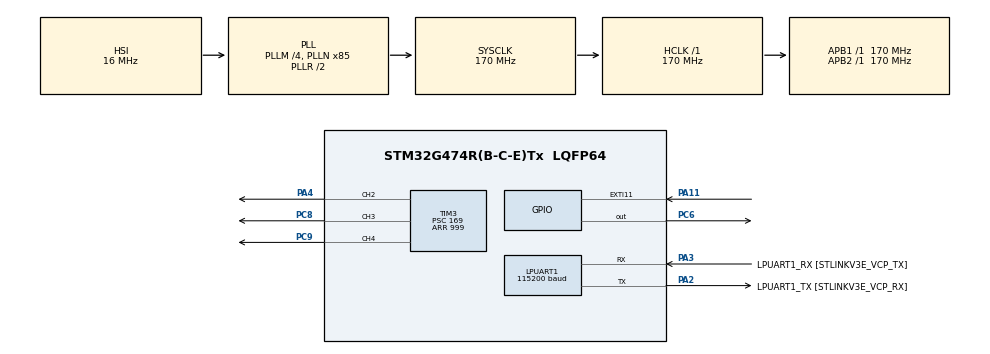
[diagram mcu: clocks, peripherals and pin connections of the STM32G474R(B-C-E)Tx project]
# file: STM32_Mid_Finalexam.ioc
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LPUART1.BaudRate=115200
Mcu.Family=STM32G4
Mcu.Name=STM32G474R(B-C-E)Tx
Mcu.Package=LQFP64
NVIC.EXTI15_10_IRQn=true\:1\:0\:true\:false\:true\:true\:true\:true
NVIC.LPUART1_IRQn=true\:0\:0\:false\:false\:true\:true\:true\:true
NVIC.PriorityGroup=NVIC_PRIORITYGROUP_4
PA11.GPIO_PuPd=GPIO_PULLUP
PA11.Signal=GPXTI11
PA13.GPIO_Label=T_SWDIO
PA13.Mode=Serial_Wire
PA13.Signal=SYS_JTMS-SWDIO
PA14.GPIO_Label=T_SWCLK
PA14.Mode=Serial_Wire
PA14.Signal=SYS_JTCK-SWCLK
PA2.GPIO_Label=LPUART1_TX [STLINKV3E_VCP_RX]
PA2.Mode=Asynchronous
PA2.Signal=LPUART1_TX
PA3.GPIO_Label=LPUART1_RX [STLINKV3E_VCP_TX]
PA3.Mode=Asynchronous
PA3.Signal=LPUART1_RX
PA4.Signal=S_TIM3_CH2
PB3.GPIO_Label=T_SWO
PB3.Signal=SYS_JTDO-SWO
PC14-OSC32_IN.GPIO_Label=RCC_OSC32_IN
PC14-OSC32_IN.Signal=RCC_OSC32_IN
PC15-OSC32_OUT.GPIO_Label=RCC_OSC32_OUT
PC15-OSC32_OUT.Signal=RCC_OSC32_OUT
PC6.Signal=GPIO_Output
PC8.Signal=S_TIM3_CH3
PC9.Signal=S_TIM3_CH4
PF0-OSC_IN.GPIO_Label=RCC_OSC_IN
PF0-OSC_IN.Signal=RCC_OSC_IN
PF1-OSC_OUT.GPIO_Label=RCC_OSC_OUT
PF1-OSC_OUT.Signal=RCC_OSC_OUT
ProjectManager.HeapSize=0x200
ProjectManager.StackSize=0x400
ProjectManager.TargetToolchain=STM32CubeIDE
RCC.ADC12Freq_Value=170000000
RCC.ADC345Freq_Value=170000000
RCC.AHBFreq_Value=170000000
RCC.APB1Freq_Value=170000000
RCC.APB1TimFreq_Value=170000000
RCC.APB2Freq_Value=170000000
RCC.APB2TimFreq_Value=170000000
RCC.CortexFreq_Value=170000000
RCC.EXTERNAL_CLOCK_VALUE=12288000
RCC.HCLKFreq_Value=170000000
RCC.HSE_VALUE=24000000
RCC.HSI48_VALUE=48000000
RCC.HSI_VALUE=16000000
RCC.LSE_VALUE=32768
RCC.PLLM=RCC_PLLM_DIV4
RCC.PLLN=85
RCC.RTCClockSelection=RCC_RTCCLKSOURCE_LSE
RCC.SYSCLKFreq_VALUE=170000000
RCC.SYSCLKSource=RCC_SYSCLKSOURCE_PLLCLK
RCC.USBFreq_Value=170000000
RCC.VCOOutputFreq_Value=340000000
SH.S_TIM3_CH2.0=TIM3_CH2,PWM Generation2 CH2
SH.S_TIM3_CH3.0=TIM3_CH3,PWM Generation3 CH3
SH.S_TIM3_CH4.0=TIM3_CH4,PWM Generation4 CH4
TIM3.Channel-PWM\ Generation2\ CH2=TIM_CHANNEL_2
TIM3.Channel-PWM\ Generation3\ CH3=TIM_CHANNEL_3
TIM3.Channel-PWM\ Generation4\ CH4=TIM_CHANNEL_4
TIM3.PeriodNoDither=999
TIM3.Prescaler=169
VP_SYS_VS_DBSignals.Mode=DisableDeadBatterySignals
board=NUCLEO-G474RE

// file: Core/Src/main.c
/* USER CODE BEGIN Header */
/**
  ******************************************************************************
  * @file           : main.c
  * @brief          : Main program body
  ******************************************************************************
  * @attention
  *
  * Copyright (c) 2026 STMicroelectronics.
  * All rights reserved.
  *
  * This software is licensed under terms that can be found in the LICENSE file
  * in the root directory of this software component.
  * If no LICENSE file comes with this software, it is provided AS-IS.
  *
  ******************************************************************************
  */
/* USER CODE END Header */
#include "main.h"

/* USER CODE BEGIN Includes */
#include <string.h>
#include <stdio.h>
/* USER CODE END Includes */

UART_HandleTypeDef hlpuart1;

TIM_HandleTypeDef htim3;

/* USER CODE BEGIN PV */
#define RX_BUF_SIZE 64
uint8_t rx_byte;
uint8_t rx_buffer[RX_BUF_SIZE];
uint16_t rx_head = 0, rx_tail = 0;
char line_buffer[64];
uint8_t line_idx = 0;

// C4 狀態變數
uint8_t C4_set = 0;
uint8_t bakudan = 0;
uint8_t dfbool = 0;
uint8_t CUT = 0;
uint8_t Defuse = 0;
uint8_t DFS = 0;

uint32_t Bomb_tick = 0;
uint32_t Defuse_tick = 0;
uint32_t CUT_Time = 10000; // 預設無鉗子 10 秒 (10000ms)，有鉗子 5 秒
int flash = 10;            // 呼吸燈循環速度變數

static uint32_t breath_tick = 0;
static int breath_dir = 1;
static uint32_t ccr_val = 0;

/* USER CODE END PV */

void SystemClock_Config(void);
static void MX_GPIO_Init(void);
static void MX_LPUART1_UART_Init(void);
static void MX_TIM3_Init(void);
/* USER CODE BEGIN PFP */
void parse_command(char *cmd);
/* USER CODE END PFP */

int main(void)
{

  /* MCU Configuration--------------------------------------------------------*/

  /* Reset of all peripherals, Initializes the Flash interface and the Systick. */
  HAL_Init();

  /* Configure the system clock */
  SystemClock_Config();

  /* Initialize all configured peripherals */
  MX_GPIO_Init();
  MX_LPUART1_UART_Init();
  MX_TIM3_Init();
  /* USER CODE BEGIN 2 */
  // 啟動 TIM3 PWM 輸出 (Channel 2, 3, 4)
    HAL_TIM_PWM_Start(&htim3, TIM_CHANNEL_2);
    HAL_TIM_PWM_Start(&htim3, TIM_CHANNEL_3);
    HAL_TIM_PWM_Start(&htim3, TIM_CHANNEL_4);

    // 啟動 LPUART1 接收中斷 (Ring Buffer 接收起點)
    HAL_UART_Receive_IT(&hlpuart1, &rx_byte, 1);

    // 程式一開始發送歡迎訊息
    char *hello_msg = "From-STM32:Hello World\r\n";
    HAL_UART_Transmit(&hlpuart1, (uint8_t*)hello_msg, strlen(hello_msg), HAL_MAX_DELAY);
  /* USER CODE END 2 */

  /* Infinite loop */
  while (1)
  {
    /* USER CODE BEGIN 3 */
	  uint32_t current_tick = HAL_GetTick();

	      // 1. 處理 UART Ring/Line Buffer 接收資料
	      while (rx_tail != rx_head) {
	          char c = rx_buffer[rx_tail];
	          rx_tail = (rx_tail + 1) % RX_BUF_SIZE;
	          if (c == '\n' || c == '\r') {
	              if (line_idx > 0) {
	                  line_buffer[line_idx] = '\0';
	                  parse_command(line_buffer);
	                  line_idx = 0;
	              }
	          } else {
	              if (line_idx < sizeof(line_buffer) - 1) {
	                  line_buffer[line_idx++] = c;
	              }
	          }
	      }

	      // 2. C4 啟動中邏輯 (C4_set == 1)
	      if (C4_set == 1) {
	          uint32_t elapsed = current_tick - Bomb_tick;

	          if (elapsed > 20000) {
	              bakudan = 1;
	              C4_set = 0;
	              char *msg = "From-STM32:Booooooooooooom\r\n";
	              HAL_UART_Transmit(&hlpuart1, (uint8_t*)msg, strlen(msg), HAL_MAX_DELAY);
	          } else if (elapsed > 15000) {
	              flash = 1;
	          } else if (elapsed > 10000) {
	              flash = 3;
	          } else {
	              flash = 5;
	          }

	          // 呼吸燈邏輯 (Channel 3 紅燈與 Channel 4 蜂鳴器)
	          if (current_tick - breath_tick >= (uint32_t)flash) {
	              breath_tick = current_tick;
	              if (breath_dir) {
	                  ccr_val += 15;
	                  if (ccr_val >= 1000) breath_dir = 0;
	              } else {
	                  ccr_val -= 15;
	                  if (ccr_val == 0) breath_dir = 1;
	              }
	              __HAL_TIM_SET_COMPARE(&htim3, TIM_CHANNEL_3, ccr_val);
	              __HAL_TIM_SET_COMPARE(&htim3, TIM_CHANNEL_4, ccr_val);
	          }

	          // 拆彈按鈕檢測 (PA11)
	          if (Defuse == 1) {
	              if (HAL_GPIO_ReadPin(GPIOA, GPIO_PIN_11) == GPIO_PIN_RESET) { // 按鈕按下
	                  if (DFS == 0) {
	                      Defuse_tick = current_tick;
	                      DFS = 1;
	                  }
	                  uint32_t hold_time = current_tick - Defuse_tick;
	                  uint32_t pwm_val = 0;

	                  if (CUT == 0) {
	                      pwm_val = hold_time / 5; // 無鉗子
	                  } else {
	                      pwm_val = hold_time / 10; // 有鉗子
	                  }
	                  if (pwm_val > 1000) pwm_val = 1000;
	                  __HAL_TIM_SET_COMPARE(&htim3, TIM_CHANNEL_2, pwm_val);

	                  if (hold_time >= CUT_Time) {
	                      dfbool = 1;
	                      C4_set = 0;
	                      char *msg = "From-STM32:Defuse Successful\r\n";
	                      HAL_UART_Transmit(&hlpuart1, (uint8_t*)msg, strlen(msg), HAL_MAX_DELAY);
	                  }
	              } else {
	                  // 放開按鈕或未按
	                  __HAL_TIM_SET_COMPARE(&htim3, TIM_CHANNEL_2, 0);
	                  DFS = 0;
	              }
	          }
	      }
	      // 3. C4 停止計時狀態 (C4_set == 0)
	      else {
	          if (bakudan == 1) {
	              // 爆炸：紅燈與蜂鳴器常亮
	              __HAL_TIM_SET_COMPARE(&htim3, TIM_CHANNEL_3, 999);
	              __HAL_TIM_SET_COMPARE(&htim3, TIM_CHANNEL_4, 999);
	              __HAL_TIM_SET_COMPARE(&htim3, TIM_CHANNEL_2, 0);
	          } else if (dfbool == 1) {
	              // 拆除成功：綠燈恆亮
	              __HAL_TIM_SET_COMPARE(&htim3, TIM_CHANNEL_2, 999);
	              __HAL_TIM_SET_COMPARE(&htim3, TIM_CHANNEL_3, 0);
	              __HAL_TIM_SET_COMPARE(&htim3, TIM_CHANNEL_4, 0);
	          } else {
	              // 初始待機狀態
	              __HAL_TIM_SET_COMPARE(&htim3, TIM_CHANNEL_2, 0);
	              __HAL_TIM_SET_COMPARE(&htim3, TIM_CHANNEL_3, 0);
	              __HAL_TIM_SET_COMPARE(&htim3, TIM_CHANNEL_4, 0);
	          }
	      }
  }
  /* USER CODE END 3 */
}

void SystemClock_Config(void)
{
  RCC_OscInitTypeDef RCC_OscInitStruct = {0};
  RCC_ClkInitTypeDef RCC_ClkInitStruct = {0};

  /** Configure the main internal regulator output voltage
  */
  HAL_PWREx_ControlVoltageScaling(PWR_REGULATOR_VOLTAGE_SCALE1_BOOST);

  /** Initializes the RCC Oscillators according to the specified parameters
  * in the RCC_OscInitTypeDef structure.
  */
  RCC_OscInitStruct.OscillatorType = RCC_OSCILLATORTYPE_HSI;
  RCC_OscInitStruct.HSIState = RCC_HSI_ON;
  RCC_OscInitStruct.HSICalibrationValue = RCC_HSICALIBRATION_DEFAULT;
  RCC_OscInitStruct.PLL.PLLState = RCC_PLL_ON;
  RCC_OscInitStruct.PLL.PLLSource = RCC_PLLSOURCE_HSI;
  RCC_OscInitStruct.PLL.PLLM = RCC_PLLM_DIV4;
  RCC_OscInitStruct.PLL.PLLN = 85;
  RCC_OscInitStruct.PLL.PLLP = RCC_PLLP_DIV2;
  RCC_OscInitStruct.PLL.PLLQ = RCC_PLLQ_DIV2;
  RCC_OscInitStruct.PLL.PLLR = RCC_PLLR_DIV2;
  if (HAL_RCC_OscConfig(&RCC_OscInitStruct) != HAL_OK)
  {
    Error_Handler();
  }

  /** Initializes the CPU, AHB and APB buses clocks
  */
  RCC_ClkInitStruct.ClockType = RCC_CLOCKTYPE_HCLK|RCC_CLOCKTYPE_SYSCLK
                              |RCC_CLOCKTYPE_PCLK1|RCC_CLOCKTYPE_PCLK2;
  RCC_ClkInitStruct.SYSCLKSource = RCC_SYSCLKSOURCE_PLLCLK;
  RCC_ClkInitStruct.AHBCLKDivider = RCC_SYSCLK_DIV1;
  RCC_ClkInitStruct.APB1CLKDivider = RCC_HCLK_DIV1;
  RCC_ClkInitStruct.APB2CLKDivider = RCC_HCLK_DIV1;

  if (HAL_RCC_ClockConfig(&RCC_ClkInitStruct, FLASH_LATENCY_4) != HAL_OK)
  {
    Error_Handler();
  }
}

static void MX_LPUART1_UART_Init(void)
{

  hlpuart1.Instance = LPUART1;
  hlpuart1.Init.BaudRate = 115200;
  hlpuart1.Init.WordLength = UART_WORDLENGTH_8B;
  hlpuart1.Init.StopBits = UART_STOPBITS_1;
  hlpuart1.Init.Parity = UART_PARITY_NONE;
  hlpuart1.Init.Mode = UART_MODE_TX_RX;
  hlpuart1.Init.HwFlowCtl = UART_HWCONTROL_NONE;
  hlpuart1.Init.OneBitSampling = UART_ONE_BIT_SAMPLE_DISABLE;
  hlpuart1.Init.ClockPrescaler = UART_PRESCALER_DIV1;
  hlpuart1.AdvancedInit.AdvFeatureInit = UART_ADVFEATURE_NO_INIT;
  if (HAL_UART_Init(&hlpuart1) != HAL_OK)
  {
    Error_Handler();
  }
  if (HAL_UARTEx_SetTxFifoThreshold(&hlpuart1, UART_TXFIFO_THRESHOLD_1_8) != HAL_OK)
  {
    Error_Handler();
  }
  if (HAL_UARTEx_SetRxFifoThreshold(&hlpuart1, UART_RXFIFO_THRESHOLD_1_8) != HAL_OK)
  {
    Error_Handler();
  }
  if (HAL_UARTEx_DisableFifoMode(&hlpuart1) != HAL_OK)
  {
    Error_Handler();
  }

}

static void MX_TIM3_Init(void)
{

  TIM_MasterConfigTypeDef sMasterConfig = {0};
  TIM_OC_InitTypeDef sConfigOC = {0};

  htim3.Instance = TIM3;
  htim3.Init.Prescaler = 169;
  htim3.Init.CounterMode = TIM_COUNTERMODE_UP;
  htim3.Init.Period = 999;
  htim3.Init.ClockDivision = TIM_CLOCKDIVISION_DIV1;
  htim3.Init.AutoReloadPreload = TIM_AUTORELOAD_PRELOAD_DISABLE;
  if (HAL_TIM_PWM_Init(&htim3) != HAL_OK)
  {
    Error_Handler();
  }
  sMasterConfig.MasterOutputTrigger = TIM_TRGO_RESET;
  sMasterConfig.MasterSlaveMode = TIM_MASTERSLAVEMODE_DISABLE;
  if (HAL_TIMEx_MasterConfigSynchronization(&htim3, &sMasterConfig) != HAL_OK)
  {
    Error_Handler();
  }
  sConfigOC.OCMode = TIM_OCMODE_PWM1;
  sConfigOC.Pulse = 0;
  sConfigOC.OCPolarity = TIM_OCPOLARITY_HIGH;
  sConfigOC.OCFastMode = TIM_OCFAST_DISABLE;
  if (HAL_TIM_PWM_ConfigChannel(&htim3, &sConfigOC, TIM_CHANNEL_2) != HAL_OK)
  {
    Error_Handler();
  }
  if (HAL_TIM_PWM_ConfigChannel(&htim3, &sConfigOC, TIM_CHANNEL_3) != HAL_OK)
  {
    Error_Handler();
  }
  if (HAL_TIM_PWM_ConfigChannel(&htim3, &sConfigOC, TIM_CHANNEL_4) != HAL_OK)
  {
    Error_Handler();
  }
  HAL_TIM_MspPostInit(&htim3);

}

static void MX_GPIO_Init(void)
{
  GPIO_InitTypeDef GPIO_InitStruct = {0};

  /* GPIO Ports Clock Enable */
  __HAL_RCC_GPIOC_CLK_ENABLE();
  __HAL_RCC_GPIOF_CLK_ENABLE();
  __HAL_RCC_GPIOA_CLK_ENABLE();
  __HAL_RCC_GPIOB_CLK_ENABLE();

  /*Configure GPIO pin Output Level */
  HAL_GPIO_WritePin(GPIOC, GPIO_PIN_6, GPIO_PIN_RESET);

  /*Configure GPIO pin : PC6 */
  GPIO_InitStruct.Pin = GPIO_PIN_6;
  GPIO_InitStruct.Mode = GPIO_MODE_OUTPUT_PP;
  GPIO_InitStruct.Pull = GPIO_NOPULL;
  GPIO_InitStruct.Speed = GPIO_SPEED_FREQ_LOW;
  HAL_GPIO_Init(GPIOC, &GPIO_InitStruct);

  /*Configure GPIO pin : PA11 */
  GPIO_InitStruct.Pin = GPIO_PIN_11;
  GPIO_InitStruct.Mode = GPIO_MODE_IT_RISING;
  GPIO_InitStruct.Pull = GPIO_PULLUP;
  HAL_GPIO_Init(GPIOA, &GPIO_InitStruct);

  /* EXTI interrupt init*/
  HAL_NVIC_SetPriority(EXTI15_10_IRQn, 1, 0);
  HAL_NVIC_EnableIRQ(EXTI15_10_IRQn);

}

/* USER CODE BEGIN 4 */
// UART 接收中斷回呼函數 (Ring Buffer 實作)
void HAL_UART_RxCpltCallback(UART_HandleTypeDef *huart) {
    if (huart->Instance == LPUART1) {
        rx_buffer[rx_head] = rx_byte;
        rx_head = (rx_head + 1) % RX_BUF_SIZE;
        HAL_UART_Receive_IT(&hlpuart1, &rx_byte, 1);
    }
}

// 外部中斷回呼函數 (檢查 PA11)
void HAL_GPIO_EXTI_Callback(uint16_t GPIO_Pin) {
    if (GPIO_Pin == GPIO_PIN_11) {
    	HAL_Delay(10);
        Defuse = 1;
    }
}

// 指令解析函數
void parse_command(char *cmd) {
    if (strcmp(cmd, "7355608") == 0) {
        if (C4_set == 0 && bakudan == 0 && dfbool == 0) {
            C4_set = 1;
            Bomb_tick = HAL_GetTick();
            bakudan = 0;
            dfbool = 0;
            char *msg = "From-STM32:Bomb SET\r\n";
            HAL_UART_Transmit(&hlpuart1, (uint8_t*)msg, strlen(msg), HAL_MAX_DELAY);
        }
    } else if (strcmp(cmd, "CUT") == 0) {
        CUT = 1;
        CUT_Time = 5000; // 有鉗子拆彈時間縮短為 5 秒
        HAL_GPIO_WritePin(GPIOC, GPIO_PIN_6, GPIO_PIN_SET); // 點亮黃燈 (PC6)
    }
}
/* USER CODE END 4 */

void Error_Handler(void)
{
  __disable_irq();
  while (1)
  {
  }
}
